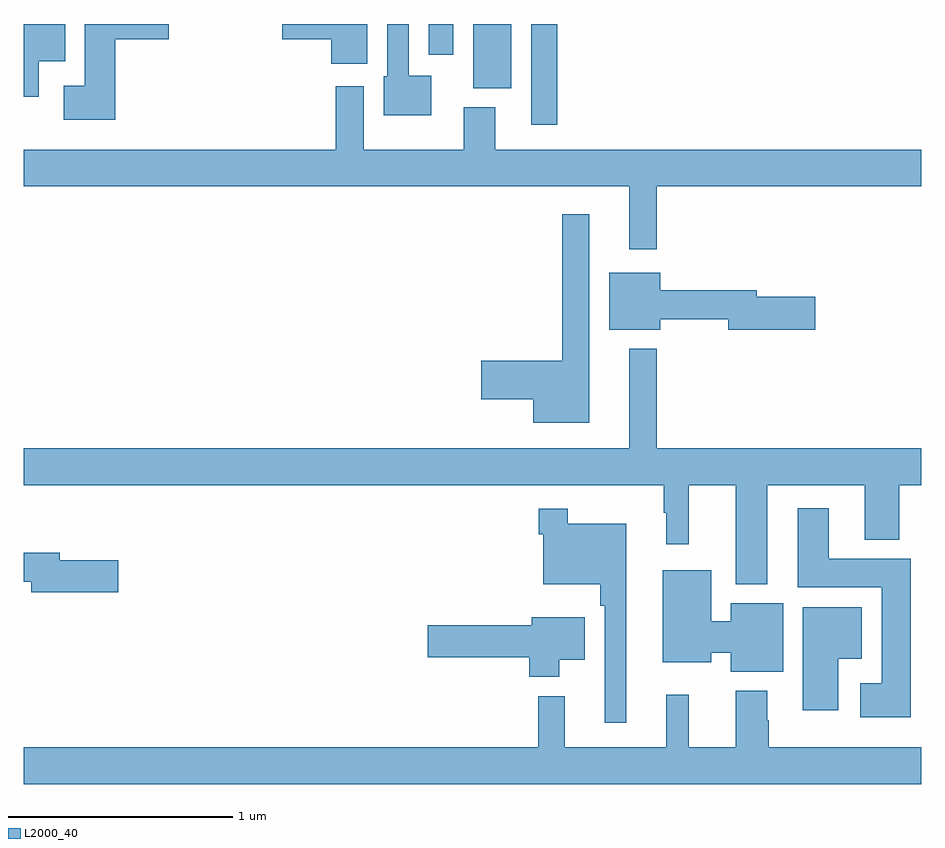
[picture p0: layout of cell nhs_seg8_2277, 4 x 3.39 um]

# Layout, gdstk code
import gdstk
lib = gdstk.Library(unit=1e-6, precision=1e-09)
def R(c, l, rs):  # rectangles x0, y0, x1, y1
    for r in rs: c.add(gdstk.rectangle(r[:2], r[2:], *l))
def P(c, l, *ps):  # polygons
    for p in ps: c.add(gdstk.Polygon(p, *l))
L2000_40 = (2000, 40)

nhs_seg8_2277 = lib.new_cell('nhs_seg8_2277')
R(nhs_seg8_2277, L2000_40, [(257.262,1107.45,257.378,1107.9), (257.003,1107.614,257.173,1107.9), (256.805,1107.762,256.915,1107.9)])
P(nhs_seg8_2277, L2000_40, [(256.531,1107.9),(256.152,1107.9),(256.152,1107.833),(256.37,1107.833),(256.37,1107.723),(256.531,1107.723)],
  [(255.067,1107.734),(255.184,1107.734),(255.184,1107.9),(255,1107.9),(255,1107.576),(255.067,1107.576)],
  [(255.407,1107.833),(255.646,1107.833),(255.646,1107.9),(255.272,1107.9),(255.272,1107.625),(255.177,1107.625),(255.177,1107.473),(255.407,1107.473)],
  [(256.816,1107.67),(256.716,1107.67),(256.716,1107.9),(256.62,1107.9),(256.62,1107.666),(256.604,1107.666),(256.604,1107.494),(256.816,1107.494)],
  [(257.821,1107.176),(259,1107.176),(259,1107.34),(257.101,1107.34),(257.101,1107.529),(256.961,1107.529),(256.961,1107.34),(256.516,1107.34),(256.516,1107.622),(256.391,1107.622),(256.391,1107.34),(255,1107.34),(255,1107.176),(257.699,1107.176),(257.699,1106.895),(257.821,1106.895)],
  [(257.521,1107.052),(257.4,1107.052),(257.4,1106.399),(257.04,1106.399),(257.04,1106.228),(257.27,1106.228),(257.27,1106.123),(257.521,1106.123)],
  [(257.836,1106.584),(258.14,1106.584),(258.14,1106.537),(258.529,1106.537),(258.529,1106.684),(258.268,1106.684),(258.268,1106.713),(257.836,1106.713),(257.836,1106.791),(257.609,1106.791),(257.609,1106.537),(257.836,1106.537)],
  [(258.313,1105.844),(258.749,1105.844),(258.749,1105.601),(258.902,1105.601),(258.902,1105.844),(259,1105.844),(259,1106.008),(257.821,1106.008),(257.821,1106.452),(257.699,1106.452),(257.699,1106.008),(255,1106.008),(255,1105.844),(257.853,1105.844),(257.853,1105.721),(257.864,1105.721),(257.864,1105.581),(257.963,1105.581),(257.963,1105.844),(258.173,1105.844),(258.173,1105.403),(258.313,1105.403)],
  [(258.954,1105.516),(258.589,1105.516),(258.589,1105.741),(258.449,1105.741),(258.449,1105.388),(258.824,1105.388),(258.824,1104.961),(258.729,1104.961),(258.729,1104.809),(258.954,1104.809)],
  [(257.686,1105.672),(257.425,1105.672),(257.425,1105.738),(257.296,1105.738),(257.296,1105.625),(257.316,1105.625),(257.316,1105.403),(257.569,1105.403),(257.569,1105.307),(257.589,1105.307),(257.589,1104.786),(257.686,1104.786)],
  [(255.421,1105.509),(255.16,1105.509),(255.16,1105.543),(255,1105.543),(255,1105.414),(255.032,1105.414),(255.032,1105.367),(255.421,1105.367)],
  [(258.385,1105.318),(258.152,1105.318),(258.152,1105.238),(258.064,1105.238),(258.064,1105.465),(257.849,1105.465),(257.849,1105.055),(258.064,1105.055),(258.064,1105.096),(258.152,1105.096),(258.152,1105.013),(258.385,1105.013)],
  [(258.631,1105.07),(258.736,1105.07),(258.736,1105.3),(258.473,1105.3),(258.473,1104.84),(258.631,1104.84)],
  [(257.386,1105.067),(257.5,1105.067),(257.5,1105.255),(257.264,1105.255),(257.264,1105.22),(256.8,1105.22),(256.8,1105.078),(257.252,1105.078),(257.252,1104.989),(257.386,1104.989)],
  [(259,1104.676),(258.321,1104.676),(258.321,1104.797),(258.313,1104.797),(258.313,1104.928),(258.173,1104.928),(258.173,1104.676),(257.963,1104.676),(257.963,1104.91),(257.864,1104.91),(257.864,1104.676),(257.411,1104.676),(257.411,1104.904),(257.293,1104.904),(257.293,1104.676),(255,1104.676),(255,1104.512),(259,1104.512)])

lib.write_gds('nhs_seg8_2277.gds')
